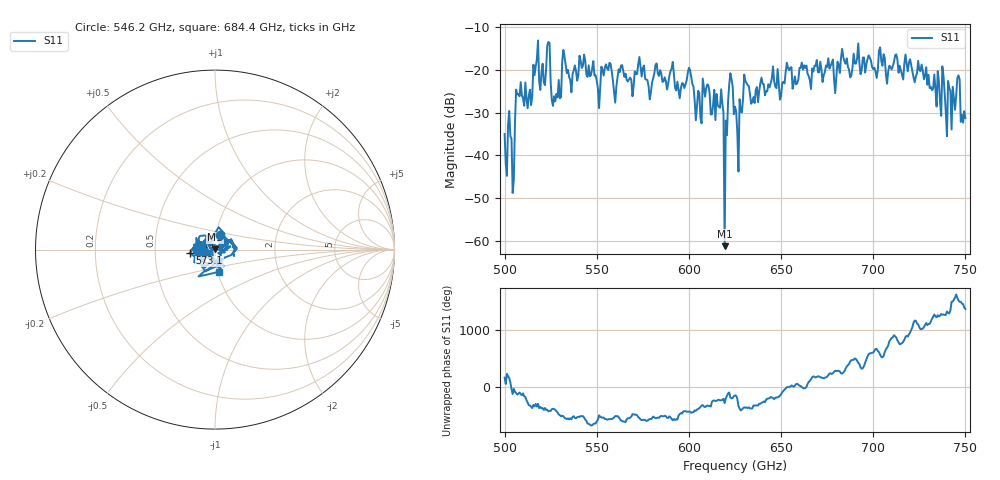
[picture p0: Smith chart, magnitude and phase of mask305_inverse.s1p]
!Created with skrf (http://scikit-rf.org).
# GHz S MA R 50.0
!freq magS11 angS11
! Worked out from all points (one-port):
!   401 points, 500 GHz to 750 GHz, reference 50 ohm
!   lowest |S11| = -61.2 dB at 619.4 GHz (marker M1), VSWR 1.00, Z = 50 + j0.0869 ohm
!   |S11| at or under -10 dB: start of sweep to end of sweep
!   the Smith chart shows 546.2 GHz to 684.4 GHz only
!   S11 on the Smith chart (normalised r, x): 546.2 GHz: 1.04, +0.17; 573.1 GHz: 0.75, -0.03; 684.4 GHz: 1.02, -0.25
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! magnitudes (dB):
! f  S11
! 500 GHz  -35.0
! 504.4 GHz  -48.8
! 507.5 GHz  -25.7
! 513.8 GHz  -24.6
! 516.9 GHz  -19.2
! 520.6 GHz  -18.6
! 523.8 GHz  -13.5
! 526.9 GHz  -26.2
! 531.2 GHz  -18.0
! 546.2 GHz  -21.5
! 562.5 GHz  -20.5
! 573.1 GHz  -17.0
! 593.8 GHz  -22.8
! 600 GHz  -19.5
! 605 GHz  -24.9
! 616.2 GHz  -28.7
! 619.4 GHz  -61.2
! 622.5 GHz  -20.8
! 625 GHz  -28.6
! 627.5 GHz  -26.9
! 631.2 GHz  -23.1
! 656.2 GHz  -24.4
! 684.4 GHz  -18.0
! 687.5 GHz  -21.8
! 718.8 GHz  -20.4
! 741.2 GHz  -24.3
! 745.6 GHz  -21.9
! 750 GHz  -31.3
